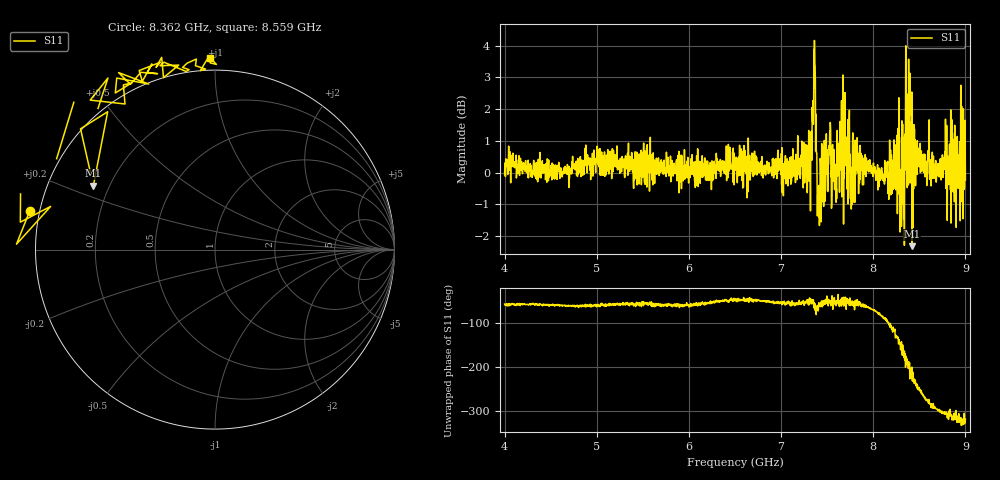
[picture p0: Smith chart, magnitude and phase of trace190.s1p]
! Created with skrf 1.8.0 (http://scikit-rf.org).
# Hz S RI R 50.0
!freq ReS11 ImS11
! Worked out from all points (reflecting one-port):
!   1601 points, 4 GHz to 9 GHz, reference 50 ohm
!   lowest |S11| = -2.3 dB at 8.422 GHz (marker M1), VSWR 7.53, Z = 7.04 + j12.1 ohm
!   phase of S11 starts at -56 deg and turns -263 deg over the sweep
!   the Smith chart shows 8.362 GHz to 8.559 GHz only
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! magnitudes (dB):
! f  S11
! 4 GHz  -0.1
! 4.625 GHz  -0.1
! 5.016 GHz  0.7
! 5.25 GHz  0.0
! 5.875 GHz  -0.1
! 6.5 GHz  0.2
! 7.125 GHz  0.2
! 7.294 GHz  0.2
! 7.328 GHz  1.3
! 7.353 GHz  1.8
! 7.366 GHz  3.4
! 7.397 GHz  -0.7
! 7.412 GHz  -0.4
! 7.512 GHz  0.2
! 7.572 GHz  0.7
! 7.609 GHz  1.3
! 7.669 GHz  1.5
! 7.75 GHz  0.1
! 8.184 GHz  -0.3
! 8.259 GHz  1.2
! 8.312 GHz  1.6
! 8.334 GHz  0.7
! 8.356 GHz  2.5
! 8.375 GHz  1.0
! 8.422 GHz  -2.3
! 8.697 GHz  -0.1
! 8.972 GHz  0.1
! 9 GHz  -0.2
